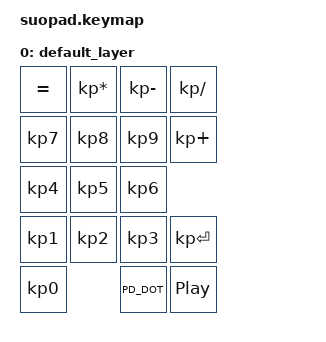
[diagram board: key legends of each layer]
#include <behaviors.dtsi>
#include <dt-bindings/zmk/keys.h>

/ {
	keymap {
		compatible = "zmk,keymap";

		default_layer { // Layer 0
			bindings = <
			&kp EQUAL		&kp KP_MULTIPLY &kp KP_MINUS	&kp KP_SLASH
			&kp KP_N7		&kp KP_N8		&kp KP_N9		&kp KP_PLUS
			&kp KP_N4		&kp KP_N5		&kp KP_N6
			&kp KP_N1		&kp KP_N2		&kp KP_N3		&kp KP_ENTER
			&kp KP_N0					&kp PD_DOT	&kp C_PP
			>;
		};
	};
};
